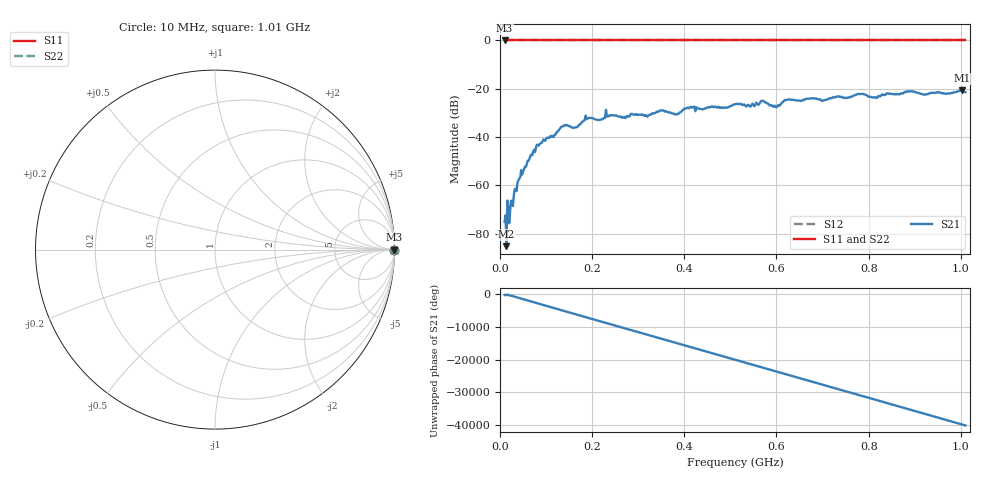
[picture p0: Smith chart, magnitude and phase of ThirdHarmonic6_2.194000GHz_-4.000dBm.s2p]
! 8/17/2025 2:09:12 AM
! C:\ANRITSUVNA\TEMP\TEMP.S2P
! CHANNEL.1
! TR.MEASUREMENT
! RAW.DATA
! RF.CORRECTION.OFF
! AVERAGING.OFF
! IF.BANDWIDTH: 5KHZ
! SWEEPTYPE:  FREQ.SWEEP(Linear)
! Reference Plane Port Info
! PORT:  PORT1  PORT2
! DISTANCE:  0  m  0  m
! TIME:  0  s  0  s
! PHASE.OFFSET:  0  deg.  0  deg.
! LOSS:  0  dB  0  dB
! REF.LOSS:  0  dB  0  dB
! REF.FREQ:  0  Hz  0  Hz
! Power Info
! POWER:  -20  dBm  -20  dBm
! EFF.POWER:  -20  dBm  -20  dBm
! SOURCE.ATTEN:  0  dB  0  dB
! TEST.ATTEN:  0  dB  0  dB
# GHZ S RI R 50.0
! FREQ.GHZ  S11RE  S11IM  S21RE  S21IM  S12RE  S12IM  S22RE  S22IM
!; PortSelection: Port_12
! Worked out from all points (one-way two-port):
!   501 points, 10 MHz to 1.01 GHz, reference 50 ohm
!   highest |S21| = -20.71 dB at 1.002 GHz (marker M1); lowest = -85.2 dB at 14 MHz (marker M2)
!   lowest |S11| = 0.0 dB at 10 MHz (marker M3)
!   |S11| at or under -10 dB: nowhere
!   |S22| runs from 0.0 to 0.0 dB; largest |S21 - S12| = 1.1
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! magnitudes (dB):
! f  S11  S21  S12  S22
! 10 MHz  0.0  -75.1  0.0  0.0
! 14 MHz  0.0  -85.2  0.0  0.0
! 24 MHz  0.0  -66.4  0.0  0.0
! 42 MHz  0.0  -57.2  0.0  0.0
! 82 MHz  0.0  -43.2  0.0  0.0
! 136 MHz  0.0  -35.6  0.0  0.0
! 164 MHz  0.0  -36.0  0.0  0.0
! 178 MHz  0.0  -33.8  0.0  0.0
! 234 MHz  0.0  -31.5  0.0  0.0
! 268 MHz  0.0  -31.7  0.0  0.0
! 344 MHz  0.0  -29.5  0.0  0.0
! 382 MHz  0.0  -30.5  0.0  0.0
! 410 MHz  0.0  -28.1  0.0  0.0
! 510 MHz  0.0  -26.4  0.0  0.0
! 570 MHz  0.0  -24.9  0.0  0.0
! 596 MHz  0.0  -27.0  0.0  0.0
! 622 MHz  0.0  -24.6  0.0  0.0
! 678 MHz  0.0  -23.9  0.0  0.0
! 814 MHz  0.0  -23.5  0.0  0.0
! 844 MHz  0.0  -22.1  0.0  0.0
! 1.002 GHz  0.0  -20.7  0.0  0.0
! 1.01 GHz  0.0  -21.4  0.0  0.0
